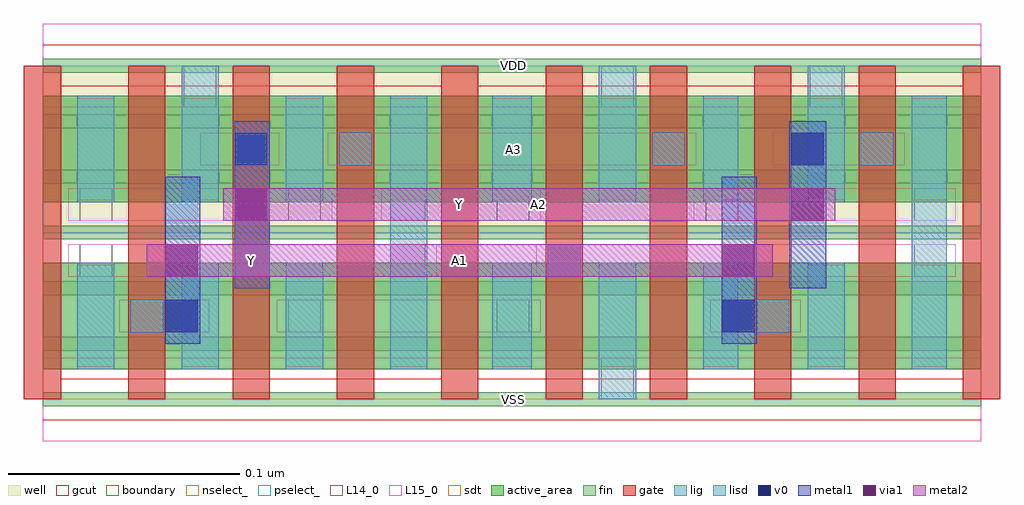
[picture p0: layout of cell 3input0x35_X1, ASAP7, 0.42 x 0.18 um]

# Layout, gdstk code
import gdstk
lib = gdstk.Library(unit=1e-6, precision=1e-09)
def R(c, l, rs):  # rectangles x0, y0, x1, y1
    for r in rs: c.add(gdstk.rectangle(r[:2], r[2:], *l))
def A(c, l, x, y, w, h, nx, ny, dx, dy):  # array of equal rectangles
    R(c, l, [(x+i*dx, y+j*dy, x+i*dx+w, y+j*dy+h) for i in range(nx) for j in range(ny)])
def P(c, l, *ps):  # polygons
    for p in ps: c.add(gdstk.Polygon(p, *l))
well = (1, 0)
fin = (2, 0)
gate = (7, 0)
gcut = (10, 0)
active_area = (11, 0)
nselect_ = (12, 0)
pselect_ = (13, 0)
L14_0 = (14, 0)
L15_0 = (15, 0)
lig = (16, 0)
lisd = (17, 0)
v0 = (18, 0)
metal1 = (19, 0)
metal2 = (20, 0)
via1 = (21, 0)
sdt = (88, 0)
boundary = (100, 0)

c_3input0x35_x1 = lib.new_cell('3input0x35_X1')
R(c_3input0x35_x1, well, [(0,0.072,0.405,0.144)])
A(c_3input0x35_x1, fin, 0, -0.003, 0.405, 0.006, 1, 7, 0, 0.024)
A(c_3input0x35_x1, gate, -0.008, 0, 0.016, 0.144, 10, 1, 0.045, 0)
P(c_3input0x35_x1, gcut, [(0,-0.009),(0,0),(-0.008,0),(-0.008,0.135),(0.008,0.135),(0.008,0.009),(0.172,0.009),(0.172,0.135),(0.188,0.135),(0.188,0.009),(0.397,0.009),(0.397,0.135),(-0.008,0.135),(-0.008,0.144),(0,0.144),(0,0.153),(0.405,0.153),(0.405,0.144),(0.413,0.144),(0.413,0),(0.405,0),(0.405,-0.009)])
R(c_3input0x35_x1, active_area, [(0,0.013,0.405,0.059), (0,0.085,0.405,0.131)])
R(c_3input0x35_x1, nselect_, [(0,0,0.405,0.072)])
R(c_3input0x35_x1, pselect_, [(0,0.072,0.405,0.144)])
A(c_3input0x35_x1, L14_0, 0.016, 0.077, 0.014, 0.014, 5, 1, 0.09, 0)
R(c_3input0x35_x1, L14_0, [(0.241,0,0.255,0.018), (0.038,0.029,0.052,0.043), (0.106,0.029,0.12,0.043), (0.196,0.029,0.21,0.043), (0.308,0.029,0.322,0.043), (0.016,0.053,0.03,0.067), (0.15,0.053,0.165,0.067), (0.218,0.053,0.232,0.067), (0.376,0.053,0.39,0.067), (0.15,0.077,0.165,0.091), (0.083,0.101,0.097,0.115), (0.128,0.101,0.142,0.115), (0.263,0.101,0.277,0.115), (0.353,0.101,0.367,0.115), (0.061,0.126,0.075,0.144), (0.241,0.126,0.255,0.144), (0.331,0.126,0.345,0.144)])
R(c_3input0x35_x1, L15_0, [(0,-0.018,0.405,0.018), (0.033,0.029,0.072,0.043), (0.101,0.029,0.215,0.043), (0.288,0.029,0.327,0.043), (0.011,0.053,0.17,0.067), (0.213,0.053,0.394,0.067), (0.011,0.077,0.125,0.091), (0.146,0.077,0.215,0.091), (0.281,0.077,0.394,0.091), (0.068,0.101,0.102,0.115), (0.123,0.101,0.282,0.115), (0.315,0.101,0.372,0.115), (0,0.126,0.405,0.162)])
R(c_3input0x35_x1, lig, [(0.038,0.029,0.052,0.043), (0.308,0.029,0.322,0.043), (0.218,0.053,0.232,0.067), (0.083,0.101,0.097,0.115), (0.128,0.101,0.142,0.115), (0.263,0.101,0.277,0.115), (0.353,0.101,0.367,0.115)])
A(c_3input0x35_x1, lisd, 0.015, 0.013, 0.016, 0.046, 3, 1, 0.045, 0)
R(c_3input0x35_x1, lisd, [(0.24,0,0.256,0.059), (0.15,0.013,0.166,0.131), (0.194,0.013,0.211,0.059), (0.285,0.013,0.3,0.059), (0.33,0.013,0.346,0.059), (0.375,0.013,0.39,0.131), (0.015,0.085,0.031,0.131), (0.06,0.085,0.076,0.144), (0.105,0.085,0.121,0.131), (0.194,0.085,0.211,0.131), (0.24,0.085,0.256,0.144), (0.285,0.085,0.3,0.131), (0.33,0.085,0.346,0.144)])
R(c_3input0x35_x1, v0, [(0.053,0.029,0.067,0.043), (0.293,0.029,0.307,0.043), (0.083,0.101,0.097,0.115), (0.323,0.101,0.337,0.115)])
R(c_3input0x35_x1, metal1, [(0.053,0.024,0.068,0.096), (0.293,0.024,0.308,0.096), (0.083,0.048,0.098,0.12), (0.322,0.048,0.338,0.12)])
R(c_3input0x35_x1, metal2, [(0.045,0.053,0.315,0.067), (0.078,0.077,0.342,0.091)])
R(c_3input0x35_x1, via1, [(0.053,0.053,0.067,0.067), (0.293,0.053,0.307,0.067), (0.083,0.077,0.097,0.091), (0.323,0.077,0.337,0.091)])
A(c_3input0x35_x1, sdt, 0.015, 0.014, 0.016, 0.044, 4, 2, 0.045, 0.072)
R(c_3input0x35_x1, sdt, [(0.194,0.014,0.211,0.058), (0.24,0.014,0.256,0.058), (0.285,0.014,0.3,0.058), (0.33,0.014,0.346,0.058), (0.375,0.014,0.39,0.058), (0.194,0.086,0.211,0.13), (0.24,0.086,0.256,0.13), (0.285,0.086,0.3,0.13), (0.33,0.086,0.346,0.13), (0.375,0.086,0.39,0.13)])
R(c_3input0x35_x1, boundary, [(0,0,0.405,0.144)])
c_3input0x35_x1.add(gdstk.Label('A3', (0.203,0.108), layer=15, texttype=251))
c_3input0x35_x1.add(gdstk.Label('VSS', (0.203,0), layer=15, texttype=251))
c_3input0x35_x1.add(gdstk.Label('VDD', (0.203,0.144), layer=15, texttype=251))
c_3input0x35_x1.add(gdstk.Label('VSS', (0.203,0), layer=15, texttype=251))
c_3input0x35_x1.add(gdstk.Label('VDD', (0.203,0.144), layer=15, texttype=251))
c_3input0x35_x1.add(gdstk.Label('Y', (0.18,0.084), layer=15, texttype=251))
c_3input0x35_x1.add(gdstk.Label('Y', (0.09,0.06), layer=15, texttype=251))
c_3input0x35_x1.add(gdstk.Label('VSS', (0.203,0), layer=15, texttype=251))
c_3input0x35_x1.add(gdstk.Label('VDD', (0.203,0.144), layer=15, texttype=251))
c_3input0x35_x1.add(gdstk.Label('VSS', (0.203,0), layer=15, texttype=251))
c_3input0x35_x1.add(gdstk.Label('VDD', (0.203,0.144), layer=15, texttype=251))
c_3input0x35_x1.add(gdstk.Label('VSS', (0.203,0), layer=3, texttype=251))
c_3input0x35_x1.add(gdstk.Label('VSS', (0.203,0), layer=3, texttype=251))
c_3input0x35_x1.add(gdstk.Label('VSS', (0.203,0), layer=3, texttype=251))
c_3input0x35_x1.add(gdstk.Label('VSS', (0.203,0), layer=3, texttype=251))
c_3input0x35_x1.add(gdstk.Label('VDD', (0.203,0.144), layer=1, texttype=251))
c_3input0x35_x1.add(gdstk.Label('VDD', (0.203,0.144), layer=1, texttype=251))
c_3input0x35_x1.add(gdstk.Label('VDD', (0.203,0.144), layer=1, texttype=251))
c_3input0x35_x1.add(gdstk.Label('VDD', (0.203,0.144), layer=1, texttype=251))
c_3input0x35_x1.add(gdstk.Label('A2', (0.214,0.084), layer=20, texttype=251))
c_3input0x35_x1.add(gdstk.Label('A1', (0.18,0.06), layer=20, texttype=251))

lib.write_gds('3input0x35_X1.gds')
